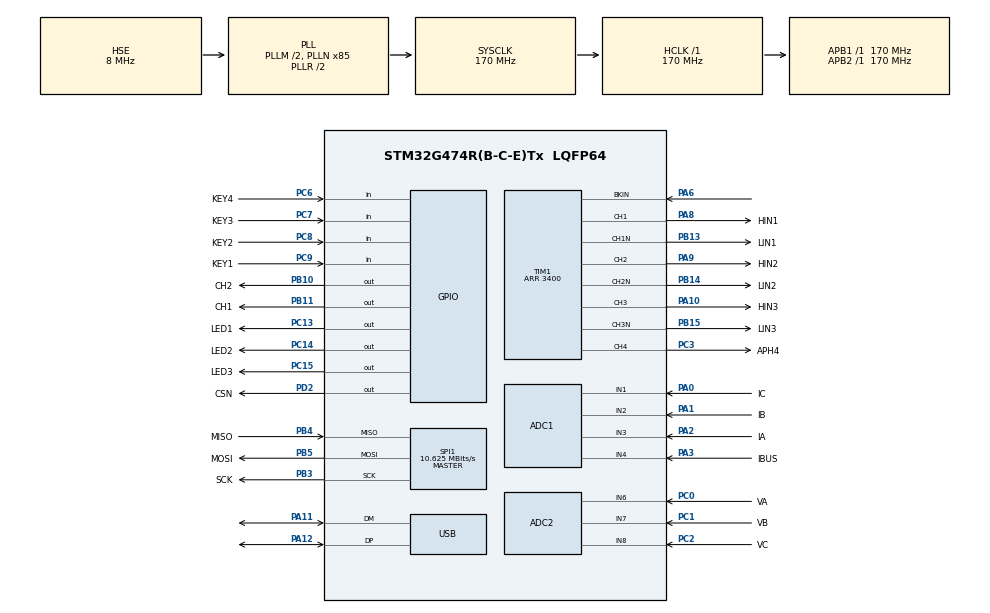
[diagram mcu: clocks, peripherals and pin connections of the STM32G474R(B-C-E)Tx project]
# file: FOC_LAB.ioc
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ADC1.Channel-1\#ChannelRegularConversion=ADC_CHANNEL_1
ADC1.EOCSelection=ADC_EOC_SINGLE_CONV
ADC1.EnableInjectedConversion=ENABLE
ADC1.ExternalTrigInjecConv=ADC_EXTERNALTRIGINJEC_T1_CC4
ADC1.ExternalTrigInjecConvEdge=ADC_EXTERNALTRIGINJECCONV_EDGE_FALLING
ADC1.InjNumberOfConversion=4
ADC1.InjectedChannel-2\#ChannelInjectedConversion=ADC_CHANNEL_3
ADC1.InjectedChannel-3\#ChannelInjectedConversion=ADC_CHANNEL_2
ADC1.InjectedChannel-4\#ChannelInjectedConversion=ADC_CHANNEL_1
ADC1.InjectedChannel-5\#ChannelInjectedConversion=ADC_CHANNEL_4
ADC1.InjectedOffsetNumber-2\#ChannelInjectedConversion=ADC_OFFSET_NONE
ADC1.InjectedOffsetNumber-3\#ChannelInjectedConversion=ADC_OFFSET_NONE
ADC1.InjectedOffsetNumber-4\#ChannelInjectedConversion=ADC_OFFSET_NONE
ADC1.InjectedOffsetNumber-5\#ChannelInjectedConversion=ADC_OFFSET_NONE
ADC1.InjectedRank-2\#ChannelInjectedConversion=1
ADC1.InjectedRank-3\#ChannelInjectedConversion=2
ADC1.InjectedRank-4\#ChannelInjectedConversion=3
ADC1.InjectedRank-5\#ChannelInjectedConversion=4
ADC1.InjectedSamplingTime-2\#ChannelInjectedConversion=ADC_SAMPLETIME_2CYCLES_5
ADC1.InjectedSamplingTime-3\#ChannelInjectedConversion=ADC_SAMPLETIME_2CYCLES_5
ADC1.InjectedSamplingTime-4\#ChannelInjectedConversion=ADC_SAMPLETIME_2CYCLES_5
ADC1.InjectedSamplingTime-5\#ChannelInjectedConversion=ADC_SAMPLETIME_2CYCLES_5
ADC1.NbrOfConversionFlag=1
ADC1.OffsetNumber-1\#ChannelRegularConversion=ADC_OFFSET_NONE
ADC1.Rank-1\#ChannelRegularConversion=1
ADC1.Rank1_Channel=ADC_CHANNEL_3
ADC1.Rank2_Channel=ADC_CHANNEL_2
ADC1.Rank3_Channel=ADC_CHANNEL_1
ADC1.Rank4_Channel=ADC_CHANNEL_4
ADC1.SamplingTime-1\#ChannelRegularConversion=ADC_SAMPLETIME_2CYCLES_5
ADC1.master=1
ADC2.Channel-2\#ChannelRegularConversion=ADC_CHANNEL_6
ADC2.NbrOfConversionFlag=1
ADC2.OffsetNumber-2\#ChannelRegularConversion=ADC_OFFSET_NONE
ADC2.Rank-2\#ChannelRegularConversion=1
ADC2.SamplingTime-2\#ChannelRegularConversion=ADC_SAMPLETIME_2CYCLES_5
Dma.Request0=SPI1_RX
Dma.Request1=SPI1_TX
Dma.SPI1_RX.0.Direction=DMA_PERIPH_TO_MEMORY
Dma.SPI1_RX.0.EventEnable=DISABLE
Dma.SPI1_RX.0.Instance=DMA1_Channel2
Dma.SPI1_RX.0.MemDataAlignment=DMA_MDATAALIGN_HALFWORD
Dma.SPI1_RX.0.MemInc=DMA_MINC_ENABLE
Dma.SPI1_RX.0.Mode=DMA_NORMAL
Dma.SPI1_RX.0.PeriphDataAlignment=DMA_PDATAALIGN_HALFWORD
Dma.SPI1_RX.0.PeriphInc=DMA_PINC_DISABLE
Dma.SPI1_RX.0.Polarity=HAL_DMAMUX_REQ_GEN_RISING
Dma.SPI1_RX.0.Priority=DMA_PRIORITY_MEDIUM
Dma.SPI1_RX.0.RequestNumber=1
Dma.SPI1_RX.0.SignalID=NONE
Dma.SPI1_RX.0.SyncEnable=DISABLE
Dma.SPI1_RX.0.SyncPolarity=HAL_DMAMUX_SYNC_NO_EVENT
Dma.SPI1_RX.0.SyncRequestNumber=1
Dma.SPI1_RX.0.SyncSignalID=NONE
Dma.SPI1_TX.1.Direction=DMA_MEMORY_TO_PERIPH
Dma.SPI1_TX.1.EventEnable=DISABLE
Dma.SPI1_TX.1.Instance=DMA1_Channel3
Dma.SPI1_TX.1.MemDataAlignment=DMA_MDATAALIGN_HALFWORD
Dma.SPI1_TX.1.MemInc=DMA_MINC_ENABLE
Dma.SPI1_TX.1.Mode=DMA_NORMAL
Dma.SPI1_TX.1.PeriphDataAlignment=DMA_PDATAALIGN_HALFWORD
Dma.SPI1_TX.1.PeriphInc=DMA_PINC_DISABLE
Dma.SPI1_TX.1.Polarity=HAL_DMAMUX_REQ_GEN_RISING
Dma.SPI1_TX.1.Priority=DMA_PRIORITY_MEDIUM
Dma.SPI1_TX.1.RequestNumber=1
Dma.SPI1_TX.1.SignalID=NONE
Dma.SPI1_TX.1.SyncEnable=DISABLE
Dma.SPI1_TX.1.SyncPolarity=HAL_DMAMUX_SYNC_NO_EVENT
Dma.SPI1_TX.1.SyncRequestNumber=1
Dma.SPI1_TX.1.SyncSignalID=NONE
Mcu.Family=STM32G4
Mcu.Name=STM32G474R(B-C-E)Tx
Mcu.Package=LQFP64
NVIC.ADC1_2_IRQn=true\:0\:0\:false\:false\:true\:true\:true\:true
NVIC.DMA1_Channel2_IRQn=true\:0\:0\:false\:false\:true\:false\:true\:true
NVIC.DMA1_Channel3_IRQn=true\:0\:0\:false\:false\:true\:false\:true\:true
NVIC.PriorityGroup=NVIC_PRIORITYGROUP_4
NVIC.SPI1_IRQn=true\:0\:0\:false\:false\:true\:true\:true\:true
NVIC.TIM2_IRQn=true\:0\:0\:false\:false\:true\:true\:true\:true
NVIC.USB_LP_IRQn=true\:0\:0\:false\:false\:true\:false\:true\:true
PA0.GPIO_Label=IC
PA0.Mode=IN1-Single-Ended
PA0.Signal=ADC1_IN1
PA1.GPIO_Label=IB
PA1.Mode=IN2-Single-Ended
PA1.Signal=ADC1_IN2
PA10.GPIO_Label=HIN3
PA10.Signal=S_TIM1_CH3
PA11.Mode=Device
PA11.Signal=USB_DM
PA12.Mode=Device
PA12.Signal=USB_DP
PA13.Mode=Serial_Wire
PA13.Signal=SYS_JTMS-SWDIO
PA14.Mode=Serial_Wire
PA14.Signal=SYS_JTCK-SWCLK
PA2.GPIO_Label=IA
PA2.Mode=IN3-Single-Ended
PA2.Signal=ADC1_IN3
PA3.GPIO_Label=IBUS
PA3.Mode=IN4-Single-Ended
PA3.Signal=ADC1_IN4
PA6.Mode=Activate-Break-Input
PA6.Signal=TIM1_BKIN
PA8.GPIO_Label=HIN1
PA8.Signal=S_TIM1_CH1
PA9.GPIO_Label=HIN2
PA9.Signal=S_TIM1_CH2
PB10.GPIO_Label=CH2
PB10.Signal=GPIO_Output
PB11.GPIO_Label=CH1
PB11.Signal=GPIO_Output
PB13.GPIO_Label=LIN1
PB13.Mode=PWM Generation1 CH1 CH1N
PB13.Signal=TIM1_CH1N
PB14.GPIO_Label=LIN2
PB14.Mode=PWM Generation2 CH2 CH2N
PB14.Signal=TIM1_CH2N
PB15.GPIO_Label=LIN3
PB15.Mode=PWM Generation3 CH3 CH3N
PB15.Signal=TIM1_CH3N
PB3.GPIO_Label=SCK
PB3.Mode=Full_Duplex_Master
PB3.Signal=SPI1_SCK
PB4.GPIO_Label=MISO
PB4.Mode=Full_Duplex_Master
PB4.Signal=SPI1_MISO
PB5.GPIO_Label=MOSI
PB5.Mode=Full_Duplex_Master
PB5.Signal=SPI1_MOSI
PC0.GPIO_Label=VA
PC0.Mode=IN6-Single-Ended
PC0.Signal=ADC2_IN6
PC1.GPIO_Label=VB
PC1.Mode=IN7-Single-Ended
PC1.Signal=ADC2_IN7
PC13.GPIO_Label=LED1
PC13.Signal=GPIO_Output
PC14-OSC32_IN.GPIO_Label=LED2
PC14-OSC32_IN.Signal=GPIO_Output
PC15-OSC32_OUT.GPIO_Label=LED3
PC15-OSC32_OUT.Signal=GPIO_Output
PC2.GPIO_Label=VC
PC2.Mode=IN8-Single-Ended
PC2.Signal=ADC2_IN8
PC3.GPIO_Label=APH4
PC3.Signal=S_TIM1_CH4
PC6.GPIO_Label=KEY4
PC6.Signal=GPIO_Input
PC7.GPIO_Label=KEY3
PC7.Signal=GPIO_Input
PC8.GPIO_Label=KEY2
PC8.Signal=GPIO_Input
PC9.GPIO_Label=KEY1
PC9.Signal=GPIO_Input
PD2.GPIO_Label=CSN
PD2.Signal=GPIO_Output
PF0-OSC_IN.Mode=HSE-External-Oscillator
PF0-OSC_IN.Signal=RCC_OSC_IN
PF1-OSC_OUT.Mode=HSE-External-Oscillator
PF1-OSC_OUT.Signal=RCC_OSC_OUT
ProjectManager.HeapSize=0x200
ProjectManager.StackSize=0x400
ProjectManager.TargetToolchain=MDK-ARM V5.32
RCC.ADC12Freq_Value=170000000
RCC.ADC345Freq_Value=170000000
RCC.AHBFreq_Value=170000000
RCC.APB1Freq_Value=170000000
RCC.APB1TimFreq_Value=170000000
RCC.APB2Freq_Value=170000000
RCC.APB2TimFreq_Value=170000000
RCC.CK48CLockSelection=RCC_USBCLKSOURCE_HSI48
RCC.CortexFreq_Value=170000000
RCC.EXTERNAL_CLOCK_VALUE=12288000
RCC.HCLKFreq_Value=170000000
RCC.HSE_VALUE=8000000
RCC.HSI48_VALUE=48000000
RCC.HSI_VALUE=16000000
RCC.LSE_VALUE=32768
RCC.PLLM=RCC_PLLM_DIV2
RCC.PLLN=85
RCC.PLLSourceVirtual=RCC_PLLSOURCE_HSE
RCC.SYSCLKFreq_VALUE=170000000
RCC.SYSCLKSource=RCC_SYSCLKSOURCE_PLLCLK
RCC.USBFreq_Value=48000000
RCC.VCOOutputFreq_Value=340000000
SH.S_TIM1_CH1.0=TIM1_CH1,PWM Generation1 CH1 CH1N
SH.S_TIM1_CH2.0=TIM1_CH2,PWM Generation2 CH2 CH2N
SH.S_TIM1_CH3.0=TIM1_CH3,PWM Generation3 CH3 CH3N
SH.S_TIM1_CH4.0=TIM1_CH4,PWM Generation4 CH4
SPI1.BaudRatePrescaler=SPI_BAUDRATEPRESCALER_16
SPI1.CLKPhase=SPI_PHASE_2EDGE
SPI1.CLKPolarity=SPI_POLARITY_HIGH
SPI1.CalculateBaudRate=10.625 MBits/s
SPI1.DataSize=SPI_DATASIZE_16BIT
SPI1.Direction=SPI_DIRECTION_2LINES
SPI1.Mode=SPI_MODE_MASTER
SPI1.VirtualType=VM_MASTER
TIM1.AutoReloadPreload=TIM_AUTORELOAD_PRELOAD_ENABLE
TIM1.Channel-PWM\ Generation1\ CH1\ CH1N=TIM_CHANNEL_1
TIM1.Channel-PWM\ Generation2\ CH2\ CH2N=TIM_CHANNEL_2
TIM1.Channel-PWM\ Generation3\ CH3\ CH3N=TIM_CHANNEL_3
TIM1.Channel-PWM\ Generation4\ CH4=TIM_CHANNEL_4
TIM1.CounterMode=TIM_COUNTERMODE_CENTERALIGNED1
TIM1.OCMode_PWM-PWM\ Generation4\ CH4=TIM_OCMODE_PWM1
TIM1.PeriodNoDither=3400
TIM1.PulseNoDither_4=3250
TIM1.RepetitionCounter=0
TIM1.TIM_MasterOutputTrigger=TIM_TRGO_RESET
TIM2.PeriodNoDither=34000-1
USB_DEVICE.CLASS_NAME_FS=CDC
USB_DEVICE.VirtualMode=Cdc
USB_DEVICE.VirtualModeFS=Cdc_FS
VP_SYS_VS_DBSignals.Mode=DisableDeadBatterySignals
VP_TIM1_VS_ClockSourceINT.Mode=Internal
VP_TIM2_VS_ClockSourceINT.Mode=Internal
VP_USB_DEVICE_VS_USB_DEVICE_CDC_FS.Mode=CDC_FS
board=custom

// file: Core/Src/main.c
/* USER CODE BEGIN Header */
/**
  ******************************************************************************
  * @file           : main.c
  * @brief          : Main program body
  ******************************************************************************
  * @attention
  *
  * Copyright (c) 2024 STMicroelectronics.
  * All rights reserved.
  *
  * This software is licensed under terms that can be found in the LICENSE file
  * in the root directory of this software component.
  * If no LICENSE file comes with this software, it is provided AS-IS.
  *
  ******************************************************************************
  */
/* USER CODE END Header */
#include "main.h"
#include "adc.h"
#include "dma.h"
#include "spi.h"
#include "tim.h"
#include "usb_device.h"
#include "gpio.h"

/* USER CODE BEGIN Includes */
#include "../../AS5047P/as5047p.h"
#include "../App/svpwm.h"
#include "../App/utils.h"
#include "../App/foc.h"
#include "../App/pid.h"
#include "math.h"
#include "user_parameters.h"
#include "vofa.h"
#include "mt6816.h"
#include "usbd_cdc_if.h"

/* USER CODE END Includes */

/* USER CODE BEGIN PV */
extern SVPWMTypeDef_t  SVPWM;
extern MATH_vec2 V_d_q, V_alpha_beta, I_d_q, I_alpha_beta;
extern MATH_vec3 I_a_b_c;
extern Current_t current;
extern Voltage_t voltage;
extern Motor_t motor;
extern MATH_EMAVG_F math_emavg1;
extern Pid_Controller_t GI_D;
extern Pid_Controller_t GI_Q;
extern Pid_Controller_t GVEL;
extern Pid_Controller_t GPOS;

float a;

/* USER CODE END PV */

void SystemClock_Config(void);

int main(void)
{

  /* MCU Configuration--------------------------------------------------------*/

  /* Reset of all peripherals, Initializes the Flash interface and the Systick. */
  HAL_Init();

  /* Configure the system clock */
  SystemClock_Config();

  /* Initialize all configured peripherals */
  MX_GPIO_Init();
  MX_DMA_Init();
  MX_SPI1_Init();
  MX_ADC1_Init();
  MX_ADC2_Init();
  MX_TIM1_Init();
  MX_TIM2_Init();
  MX_USB_Device_Init();
  /* USER CODE BEGIN 2 */
  //FOC_Init();
//HAL_Delay(1000);
  /* USER CODE END 2 */
	SPI1->DR = 0x8300;////
  /* Infinite loop */
  /* USER CODE BEGIN WHILE */
  while (1)
  {
    ///ddd
    //a = enc_mt6816_routine();
		//vofa_send_data(0,rx_val.floating_value);
//		vofa_send_data(1,debug_vel_target);
//    vofa_send_data(2,motor.vel);
//		vofa_sendframetail();
//     HAL_GPIO_WritePin(GPIOA,GPIO_PIN_6,GPIO_PIN_RESET);
    /* USER CODE END WHILE */

  }
}

void SystemClock_Config(void)
{
  RCC_OscInitTypeDef RCC_OscInitStruct = {0};
  RCC_ClkInitTypeDef RCC_ClkInitStruct = {0};

  /** Configure the main internal regulator output voltage
  */
  HAL_PWREx_ControlVoltageScaling(PWR_REGULATOR_VOLTAGE_SCALE1_BOOST);

  /** Initializes the RCC Oscillators according to the specified parameters
  * in the RCC_OscInitTypeDef structure.
  */
  RCC_OscInitStruct.OscillatorType = RCC_OSCILLATORTYPE_HSI48|RCC_OSCILLATORTYPE_HSE;
  RCC_OscInitStruct.HSEState = RCC_HSE_ON;
  RCC_OscInitStruct.HSI48State = RCC_HSI48_ON;
  RCC_OscInitStruct.PLL.PLLState = RCC_PLL_ON;
  RCC_OscInitStruct.PLL.PLLSource = RCC_PLLSOURCE_HSE;
  RCC_OscInitStruct.PLL.PLLM = RCC_PLLM_DIV2;
  RCC_OscInitStruct.PLL.PLLN = 85;
  RCC_OscInitStruct.PLL.PLLP = RCC_PLLP_DIV2;
  RCC_OscInitStruct.PLL.PLLQ = RCC_PLLQ_DIV2;
  RCC_OscInitStruct.PLL.PLLR = RCC_PLLR_DIV2;
  if (HAL_RCC_OscConfig(&RCC_OscInitStruct) != HAL_OK)
  {
    Error_Handler();
  }

  /** Initializes the CPU, AHB and APB buses clocks
  */
  RCC_ClkInitStruct.ClockType = RCC_CLOCKTYPE_HCLK|RCC_CLOCKTYPE_SYSCLK
                              |RCC_CLOCKTYPE_PCLK1|RCC_CLOCKTYPE_PCLK2;
  RCC_ClkInitStruct.SYSCLKSource = RCC_SYSCLKSOURCE_PLLCLK;
  RCC_ClkInitStruct.AHBCLKDivider = RCC_SYSCLK_DIV1;
  RCC_ClkInitStruct.APB1CLKDivider = RCC_HCLK_DIV1;
  RCC_ClkInitStruct.APB2CLKDivider = RCC_HCLK_DIV1;

  if (HAL_RCC_ClockConfig(&RCC_ClkInitStruct, FLASH_LATENCY_4) != HAL_OK)
  {
    Error_Handler();
  }
}

void Error_Handler(void)
{
  __disable_irq();
  while (1)
  {
  }
}
